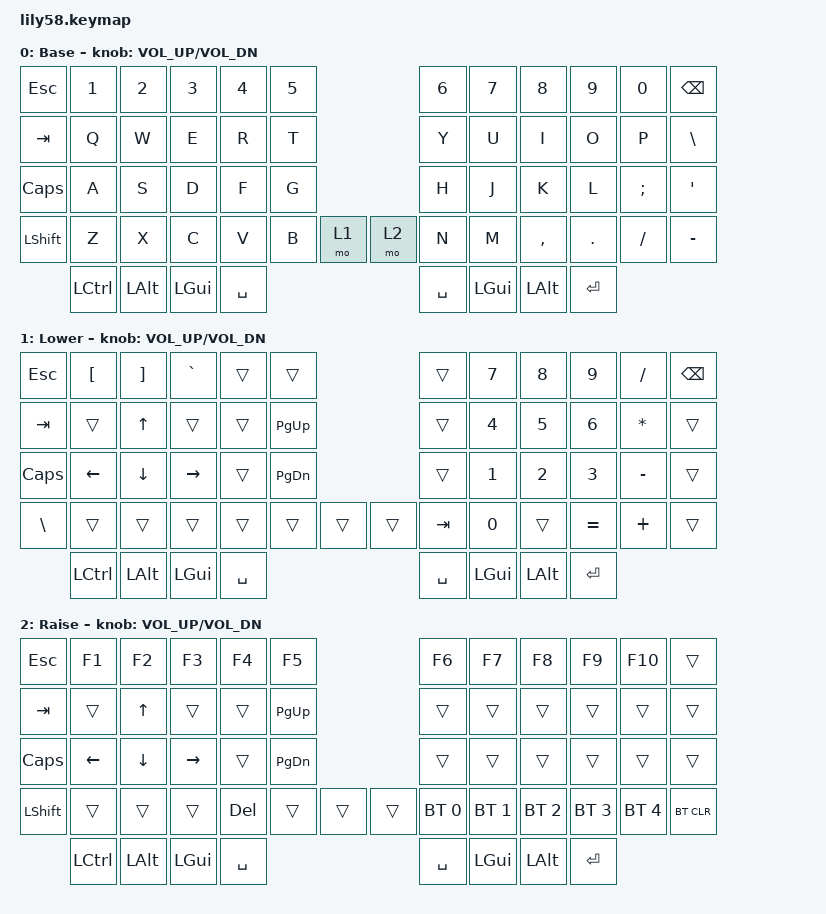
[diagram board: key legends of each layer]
/*
 * Copyright (c) 2020 The ZMK Contributors
 *
 * SPDX-License-Identifier: MIT
 */

#include <behaviors.dtsi>
#include <dt-bindings/zmk/keys.h>
#include <dt-bindings/zmk/bt.h>
#include <dt-bindings/zmk/ext_power.h>

/ {
    keymap {
        compatible = "zmk,keymap";

        default_layer {
// ------------------------------------------------------------------------------------------------------------
// |  ESC  |  1  |  2  |  3   |  4   |  5   |                   |  6   |  7    |  8    |  9   |   0   | BSPC  |
// |  TAB  |  Q  |  W  |  E   |  R   |  T   |                   |  Y   |  U    |  I    |  O   |   P   | - _   |
// | CAPS  |  A  |  S  |  D   |  F   |  G   |                   |  H   |  J    |  K    |  L   |   ;   |   '   |
// | SHIFT |  Z  |  X  |  C   |  V   |  B   |  LOWER |  | RAISE |  N   |  M    |  ,    |  .   |   /   | ENTER |
//                     | CTRL | ALT  | GUI |  SPACE  |  | SPACE | GUI | ALT  | PRSCN |
            display-name = "Base";
            bindings = <
&kp ESC   &kp N1 &kp N2 &kp N3   &kp N4   &kp N5                     &kp N6 &kp N7   &kp N8    &kp N9  &kp N0      &kp BSPC
&kp TAB   &kp Q  &kp W  &kp E    &kp R    &kp T                      &kp Y  &kp U    &kp I     &kp O   &kp P       &kp BSLH
&kp CAPS  &kp A  &kp S  &kp D    &kp F    &kp G                      &kp H  &kp J    &kp K     &kp L   &kp SEMI    &kp SQT
&kp LSHFT &kp Z  &kp X  &kp C    &kp V    &kp B  &mo 1        &mo 2  &kp N  &kp M    &kp COMMA &kp DOT &kp FSLH    &kp MINUS
          &kp LCTRL     &kp LALT   &kp LGUI      &kp SPACE     &kp SPACE     &kp LGUI   &kp LALT   &kp RET
            >;

            sensor-bindings = <&inc_dec_kp C_VOL_UP C_VOL_DN>;
        };

        lower_layer {
// ------------------------------------------------------------------------------------------------------------
// |         |     |     |      |      |      |                   |      |   7   |   8   |  9   | DIV   |       |
// |         |     | UP  |      |      |PG UP |                   |      |   4   |   5   |  6   | MULT  |       |
// |         |LEFT |DOWN |RIGHT |      |PG DN |                   |      |   1   |   2   |  3   | SUBT  |       |
// |"\" & "|"|     |     |      | DEL  |      |        |  |       |      |   0   |       |      | ADD   | EQUAL |
//                       | CTRL | ALT  | GUI  | SPACE  |  | SPACE | GUI | ALT    | CTRL  |
            display-name = "Lower";
            bindings = <
&kp ESC        &kp LBKT           &kp RBKT        &kp GRAVE       &trans     &trans                               &trans     &kp N7       &kp N8       &kp N9        &kp SLASH     &kp BSPC
&kp TAB        &trans           &kp UP        &trans       &trans     &kp PG_UP                            &trans     &kp N4       &kp N5       &kp N6        &kp STAR      &trans
&kp CAPS        &kp LEFT         &kp DOWN      &kp RIGHT    &trans     &kp PG_DN                            &trans     &kp N1       &kp N2       &kp N3        &kp MINUS     &trans
&kp BSLH      &trans           &trans        &trans       &trans    &trans    &trans         &trans      &kp TAB     &kp N0       &trans       &kp EQUAL       &kp PLUS      &trans
                                             &kp LCTRL    &kp LALT   &kp LGUI  &kp SPACE      &kp SPACE   &kp LGUI   &kp LALT     &kp RET
            >;

            sensor-bindings = <&inc_dec_kp C_VOL_UP C_VOL_DN>;
        };

        raise_layer {
// ------------------------------------------------------------------------------------------------------------
// |   F1    |  F2  |  F3   | F4   | F5    |  F6   |                        |  F7 | F8   |  F9   |  F10  |  F11  |     F12     |
// |         |      |  UP   |      |       | PG_UP |                        |     |      |       |       |       |             |
// |         | LEFT | DOWN  | RIGHT|       | PG_DN |                        |     |      |       |       |       |             |
// |"\" & "|"|      |       |      |   DEL |       |         |  |           | BT1 | BT2  |  BT3  |  BT4  |  BT5  |   Clear BT  |   
//                          | CTRL |  ALT  |  GUI  | SPACE   |  |   SPACE   | GUI | ALT  |  CTRL |
            display-name = "Raise";
            bindings = <
&kp ESC    &kp F1         &kp F2          &kp F3         &kp F4       &kp F5                            &kp F6         &kp F7         &kp F8        &kp F9        &kp F10       &trans
&kp TAB    &trans         &kp UP          &trans         &trans       &kp PG_UP                         &trans         &trans         &trans        &trans        &trans        &trans
&kp CAPS    &kp LEFT       &kp DOWN        &kp RIGHT      &trans       &kp PG_DN                         &trans         &trans         &trans        &trans        &trans        &trans
&kp LSHFT  &trans         &trans          &trans         &kp DEL      &trans    &trans        &trans    &bt BT_SEL 0   &bt BT_SEL 1   &bt BT_SEL 2  &bt BT_SEL 3  &bt BT_SEL 4  &bt BT_CLR
                                         &kp LCTRL      &kp LALT     &kp LGUI  &kp SPACE     &kp SPACE &kp LGUI       &kp LALT       &kp RET
            >;

            sensor-bindings = <&inc_dec_kp C_VOL_UP C_VOL_DN>;
        };
    };
};
